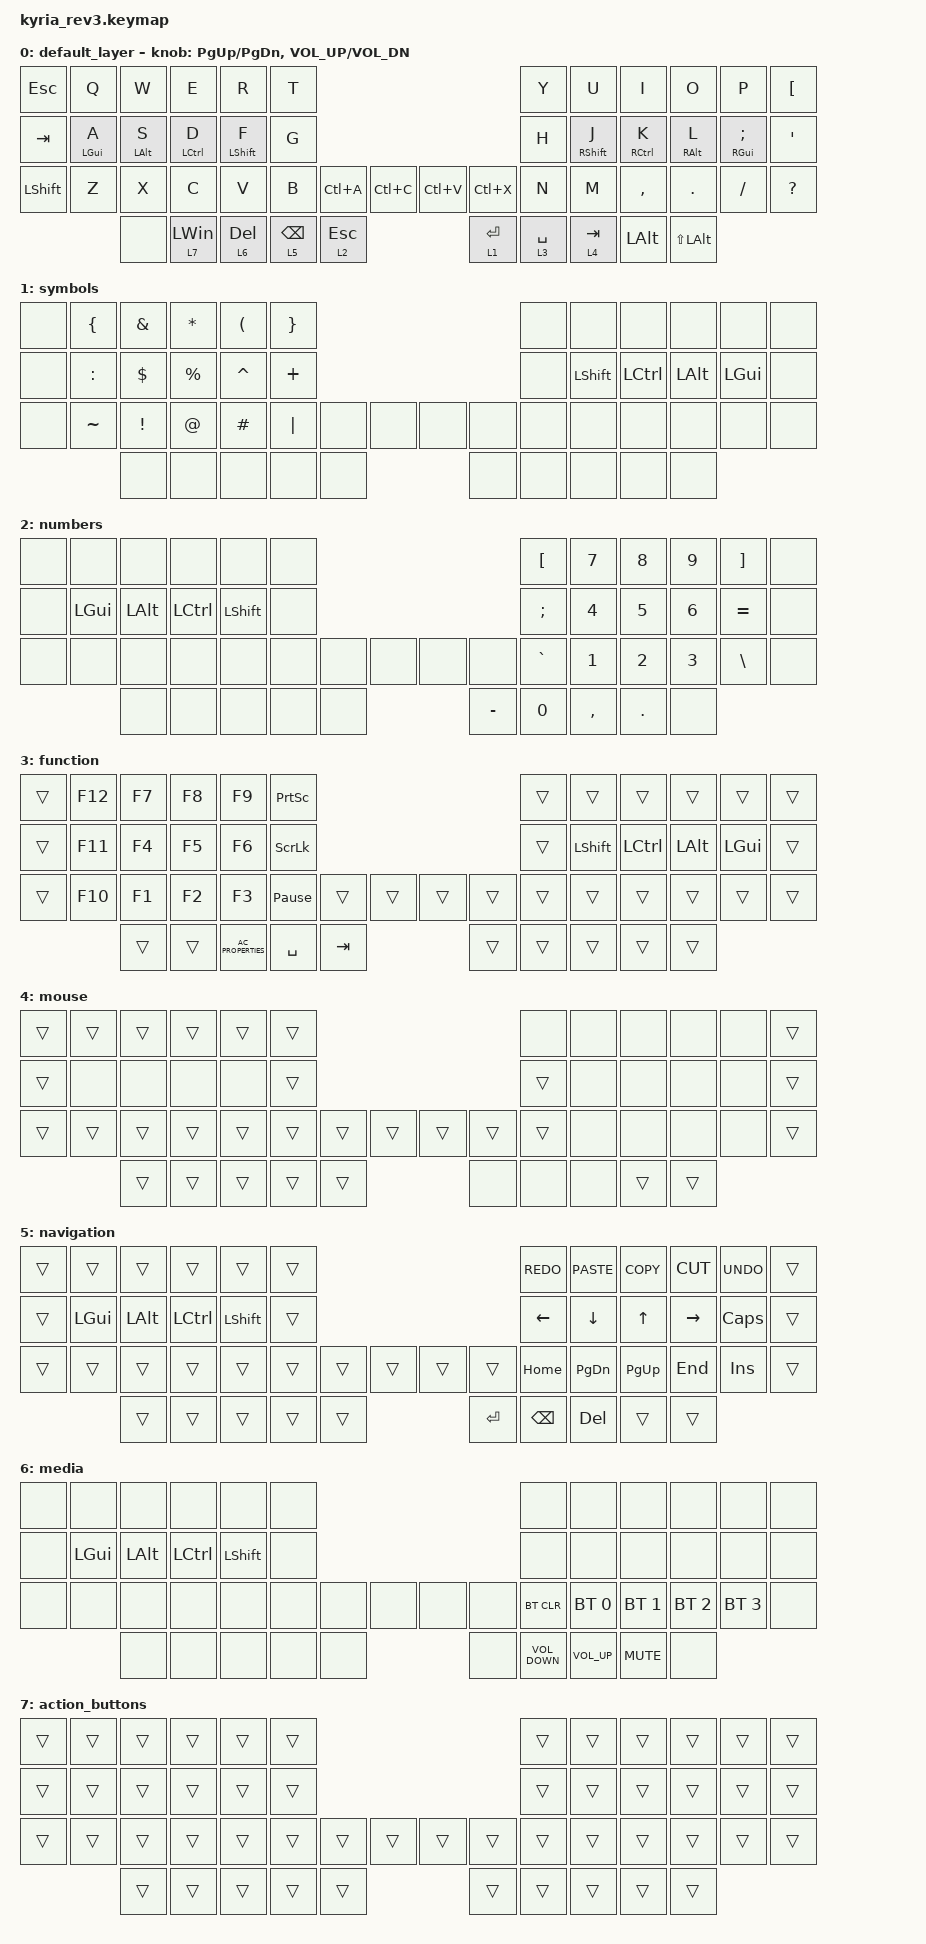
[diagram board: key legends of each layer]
/*
 * Copyright (c) 2023 The ZMK Contributors
 *
 * SPDX-License-Identifier: MIT
 */

#include <behaviors.dtsi>
#include <dt-bindings/zmk/keys.h>
#include <dt-bindings/zmk/bt.h>

&led_strip {
    chain-length = <31>;// Uncomment if using both per-key and underglow LEDs
};

/ {
    behaviors {
        mt_tap_pref: mt_tap_pref {
            compatible = "zmk,behavior-hold-tap";
            label = "MT_TAP_PREF";
            bindings =
                <&kp>,
                <&kp>;

            #binding-cells = <2>;
            tapping-term-ms = <200>;
            quick-tap-ms = <180>;
            flavor = "tap-preferred";
        };
        l_paren_brk: l_paren_brk {
            compatible = "zmk,behavior-tap-dance";
            label = "L_PAREN_BRK";
            #binding-cells = <0>;
            bindings =
                <&kp LEFT_PARENTHESIS>,
                <&kp LEFT_BRACKET>,
                <&kp LEFT_BRACE>;
        };
        r_paren_brk: r_paren_brk {
            compatible = "zmk,behavior-tap-dance";
            label = "R_PAREN_BRK";
            #binding-cells = <0>;
            bindings =
                <&kp RIGHT_PARENTHESIS>,
                <&kp RIGHT_BRACKET>,
                <&kp RIGHT_BRACE>;
        };
    };

    keymap {
        compatible = "zmk,keymap";

        default_layer {
            // --------------------------------------------------------------------------------------------------------------------------------------------------------------------
            // |   ESC   |    Q    |    W    |    E    |    R    |    T    |                                          |    Y    |    U    |    I    |    O    |    P    |    \    |
            // |   TAB   |    A    |    S    |    D    |    F    |    G    |                                          |    H    |    J    |    K    |    L    |    ;    |    '    |
            // |  SHIFT  |    Z    |    X    |    C    |    V    |    B    | CTRL+A  | CTRL+C  |  |  CTRL+V |  CTRL+X |    N    |    M    |    ,    |    .    |    /    |  R CTRL |
            //                               |   GUI   |   DEL   | RETURN  |  SPACE  | ESCAPE  |  |  RETURN |  SPACE  |   TAB   |   BSPC  |  R ALT  |

            bindings = <
   &kp ESC           &kp Q           &kp W        &kp E           &kp R      &kp T                                                            &kp Y        &kp U        &kp I             &kp O               &kp P  &kp LEFT_BRACKET
   &kp TAB  &mt LEFT_GUI A  &mt LEFT_ALT S  &mt LCTRL D     &mt LSHFT F      &kp G                                                            &kp H  &mt RSHFT J  &mt RCTRL K        &mt RALT L  &mt RIGHT_GUI SEMI           &kp SQT
&kp LSHIFT           &kp Z           &kp X        &kp C           &kp V      &kp B        &kp LC(A)  &kp LC(C)    &kp LC(V)    &kp LC(X)      &kp N        &kp M    &kp COMMA           &kp DOT            &kp FSLH      &kp QUESTION
                                     &none               &lt 7 LEFT_WIN  &lt 6 DEL  &lt 5 BACKSPACE  &lt 2 ESC  &lt 1 ENTER  &lt 3 SPACE  &lt 4 TAB     &kp LALT               &kp LS(LEFT_ALT)
            >;

            sensor-bindings = <&inc_dec_kp PAGE_UP PAGE_DOWN &inc_dec_kp C_VOL_UP C_VOL_DN>;
        };

        symbols {
            bindings = <
&none  &kp LEFT_BRACE    &kp AMPERSAND  &kp ASTERISK  &kp LEFT_PARENTHESIS  &kp RIGHT_BRACE                              &none      &none      &none     &none     &none  &none
&none       &kp COLON       &kp DOLLAR   &kp PERCENT             &kp CARET         &kp PLUS                              &none  &kp LSHFT  &kp LCTRL  &kp LALT  &kp LGUI  &none
&none       &kp TILDE  &kp EXCLAMATION        &kp AT              &kp HASH         &kp PIPE  &none  &none  &none  &none  &none      &none      &none     &none     &none  &none
                                 &none                               &none            &none  &none  &none  &none  &none  &none      &none                &none
            >;
        };

        numbers {
            bindings = <
&none     &none     &none      &none      &none  &none                                         &kp LEFT_BRACKET  &kp NUMBER_7  &kp NUMBER_8  &kp NUMBER_9  &kp RIGHT_BRACKET  &none
&none  &kp LGUI  &kp LALT  &kp LCTRL  &kp LSHFT  &none                                                 &kp SEMI  &kp NUMBER_4  &kp NUMBER_5  &kp NUMBER_6          &kp EQUAL  &none
&none     &none     &none      &none      &none  &none  &none  &none      &none         &none         &kp GRAVE  &kp NUMBER_1  &kp NUMBER_2  &kp NUMBER_3      &kp BACKSLASH  &none
                    &none                 &none  &none  &none  &none  &kp MINUS  &kp NUMBER_0         &kp COMMA    &kp PERIOD                       &none
            >;
        };

        function {
            bindings = <
&trans  &kp F12  &kp F7  &kp F8  &kp F9      &kp PRINTSCREEN                                      &trans      &trans     &trans    &trans        &trans  &trans
&trans  &kp F11  &kp F4  &kp F5  &kp F6       &kp SCROLLLOCK                                      &trans  &kp LSHIFT  &kp LCTRL  &kp LALT  &kp LEFT_GUI  &trans
&trans  &kp F10  &kp F1  &kp F2  &kp F3      &kp PAUSE_BREAK     &trans   &trans  &trans  &trans  &trans      &trans     &trans    &trans        &trans  &trans
                 &trans          &trans  &kp C_AC_PROPERTIES  &kp SPACE  &kp TAB  &trans  &trans  &trans      &trans               &trans
            >;
        };

        mouse {
            bindings = <
&trans  &trans  &trans  &trans  &trans  &trans                                   &none   &none  &none   &none  &none  &trans
&trans   &none   &none   &none   &none  &trans                                  &trans   &none  &none   &none  &none  &trans
&trans  &trans  &trans  &trans  &trans  &trans  &trans  &trans  &trans  &trans  &trans   &none  &none   &none  &none  &trans
                &trans          &trans  &trans  &trans  &trans   &none   &none   &none  &trans         &trans
            >;
        };

        navigation {
            bindings = <
&trans        &trans    &trans     &trans      &trans  &trans                                                &kp K_REDO     &kp K_PASTE    &kp K_COPY  &kp K_CUT  &kp K_UNDO  &trans
&trans  &kp LEFT_GUI  &kp LALT  &kp LCTRL  &kp LSHIFT  &trans                                            &kp LEFT_ARROW  &kp DOWN_ARROW  &kp UP_ARROW  &kp RIGHT    &kp CAPS  &trans
&trans        &trans    &trans     &trans      &trans  &trans  &trans  &trans     &trans         &trans        &kp HOME   &kp PAGE_DOWN   &kp PAGE_UP    &kp END     &kp INS  &trans
                        &trans                 &trans  &trans  &trans  &trans  &kp ENTER  &kp BACKSPACE      &kp DELETE          &trans                   &trans
            >;
        };

        media {
            bindings = <
&none         &none     &none      &none       &none  &none                                                    &none         &none         &none         &none         &none  &none
&none  &kp LEFT_GUI  &kp LALT  &kp LCTRL  &kp LSHIFT  &none                                                    &none         &none         &none         &none         &none  &none
&none         &none     &none      &none       &none  &none  &none  &none  &none              &none       &bt BT_CLR  &bt BT_SEL 0  &bt BT_SEL 1  &bt BT_SEL 2  &bt BT_SEL 3  &none
                        &none                  &none  &none  &none  &none  &none  &kp C_VOLUME_DOWN  &kp C_VOLUME_UP    &kp C_MUTE                       &none
            >;
        };

        action_buttons {
            bindings = <
&trans  &trans  &trans  &trans  &trans  &trans                                  &trans  &trans  &trans  &trans  &trans  &trans
&trans  &trans  &trans  &trans  &trans  &trans                                  &trans  &trans  &trans  &trans  &trans  &trans
&trans  &trans  &trans  &trans  &trans  &trans  &trans  &trans  &trans  &trans  &trans  &trans  &trans  &trans  &trans  &trans
                &trans          &trans  &trans  &trans  &trans  &trans  &trans  &trans  &trans          &trans
            >;
        };
    };
};
